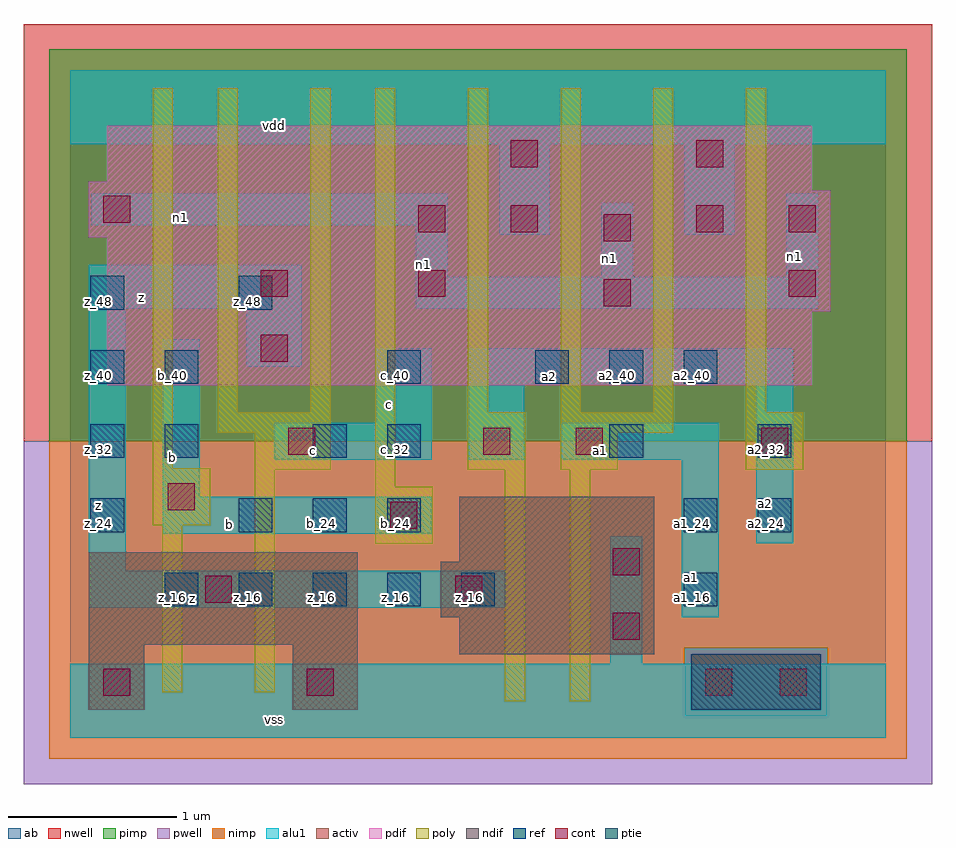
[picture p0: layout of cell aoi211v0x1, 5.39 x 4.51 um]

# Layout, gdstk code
import gdstk
lib = gdstk.Library(unit=1e-6, precision=2.5e-09)
def R(c, l, rs):  # rectangles x0, y0, x1, y1
    for r in rs: c.add(gdstk.rectangle(r[:2], r[2:], *l))
def A(c, l, x, y, w, h, nx, ny, dx, dy):  # array of equal rectangles
    R(c, l, [(x+i*dx, y+j*dy, x+i*dx+w, y+j*dy+h) for i in range(nx) for j in range(ny)])
ndif = (3, 0)
pdif = (4, 0)
ptie = (6, 0)
ref = (24, 0)
cont = (25, 0)
pwell = (41, 0)
nwell = (42, 0)
activ = (43, 0)
pimp = (44, 0)
nimp = (45, 0)
poly = (46, 0)
alu1 = (49, 0)
ab = (63, 0)

aoi211v0x1 = lib.new_cell('aoi211v0x1')
R(aoi211v0x1, ndif, [(0.11,0.165,0.44,0.55), (1.32,0.165,1.705,0.55), (2.31,0.495,3.465,0.715), (0.11,0.55,1.705,1.1), (2.2,0.715,3.465,1.045), (2.31,1.045,3.465,1.43)])
R(aoi211v0x1, pdif, [(0.22,2.09,4.4,2.53), (0.22,2.53,4.51,2.97), (0.11,2.97,4.51,3.245), (0.11,3.245,4.4,3.3), (0.22,3.3,4.4,3.63)])
R(aoi211v0x1, ptie, [(3.685,0.165,4.455,0.495)])
A(aoi211v0x1, ref, 0.56, 0.78, 0.2, 0.2, 5, 1, 0.44, 0)
A(aoi211v0x1, ref, 0.12, 1.22, 0.2, 0.2, 1, 4, 0, 0.44)
A(aoi211v0x1, ref, 1, 1.22, 0.2, 0.2, 3, 1, 0.44, 0)
A(aoi211v0x1, ref, 2.76, 2.1, 0.2, 0.2, 3, 1, 0.44, 0)
R(aoi211v0x1, ref, [(3.64,0.78,3.84,0.98), (3.64,1.22,3.84,1.42), (4.08,1.22,4.28,1.42), (0.56,1.66,0.76,1.86), (1.44,1.66,1.64,1.86), (1.88,1.66,2.08,1.86), (3.2,1.66,3.4,1.86), (4.08,1.66,4.28,1.86), (0.56,2.1,0.76,2.3), (1.88,2.1,2.08,2.3), (1,2.54,1.2,2.74)])
R(aoi211v0x1, cont, [(0.195,0.25,0.355,0.41), (1.405,0.25,1.565,0.41), (3.77,0.25,3.93,0.41), (4.21,0.25,4.37,0.41), (3.22,0.58,3.38,0.74), (0.8,0.8,0.96,0.96), (2.285,0.8,2.445,0.96), (3.22,0.965,3.38,1.125), (1.9,1.24,2.06,1.4), (0.58,1.35,0.74,1.51), (1.295,1.68,1.455,1.84), (2.45,1.68,2.61,1.84), (3,1.68,3.16,1.84), (4.1,1.68,4.26,1.84), (1.13,2.23,1.29,2.39), (3.165,2.56,3.325,2.72), (1.13,2.615,1.29,2.775), (2.065,2.615,2.225,2.775), (4.265,2.615,4.425,2.775), (3.165,2.945,3.325,3.105), (2.065,3,2.225,3.16), (2.615,3,2.775,3.16), (3.715,3,3.875,3.16), (4.265,3,4.425,3.16), (0.195,3.055,0.355,3.215), (2.615,3.385,2.775,3.545), (3.715,3.385,3.875,3.545)])
R(aoi211v0x1, pwell, [(-0.275,-0.275,5.115,1.76)])
R(aoi211v0x1, nwell, [(-0.275,1.76,5.115,4.235)])
R(aoi211v0x1, activ, [(0.11,0.165,0.44,0.55), (1.32,0.165,1.705,0.55), (3.685,0.165,4.455,0.495), (2.31,0.495,3.465,0.715), (0.11,0.55,1.705,1.1), (2.2,0.715,3.465,1.045), (2.31,1.045,3.465,1.43), (0.22,2.09,4.4,2.53), (0.22,2.53,4.51,2.97), (0.11,2.97,4.51,3.245), (0.11,3.245,4.4,3.3), (0.22,3.3,4.4,3.63)])
R(aoi211v0x1, pimp, [(3.645,0.125,4.495,0.535), (-0.125,1.76,4.965,4.085)])
R(aoi211v0x1, nimp, [(-0.125,-0.125,4.965,0.125), (-0.125,0.125,3.645,0.535), (4.495,0.125,4.965,0.535), (-0.125,0.535,4.965,1.76)])
A(aoi211v0x1, poly, 2.36, 1.93, 0.12, 1.925, 4, 1, 0.55, 0)
R(aoi211v0x1, poly, [(2.58,0.215,2.7,1.59), (2.965,0.215,3.085,1.59), (0.545,0.27,0.665,1.26), (1.095,0.27,1.215,1.59), (1.81,1.15,2.15,1.49), (0.49,1.26,0.83,1.6), (1.81,1.49,1.93,3.855), (1.095,1.59,1.545,1.81), (2.36,1.59,2.7,1.93), (2.91,1.59,3.25,1.81), (4.01,1.59,4.35,1.93), (0.49,1.6,0.61,3.855), (0.875,1.81,1.545,1.93), (2.91,1.81,3.58,1.93), (0.875,1.93,0.995,3.855), (1.425,1.93,1.545,3.855)])
R(aoi211v0x1, alu1, [(0,0,4.84,0.44), (3.205,0.44,3.395,1.195), (3.63,0.715,3.85,1.65), (0.11,0.77,2.585,0.99), (0.11,0.99,0.33,2.545), (4.07,1.155,4.29,2.09), (0.55,1.21,2.145,1.43), (0.55,1.43,0.77,2.365), (1.21,1.65,2.145,1.87), (2.365,1.65,2.695,2.09), (2.915,1.65,3.85,1.87), (1.815,1.87,2.145,2.31), (2.365,2.09,4.29,2.31), (1.045,2.2,1.375,2.53), (0.99,2.53,1.375,2.545), (0.11,2.545,1.375,2.805), (2.05,2.545,4.44,2.735), (2.05,2.735,2.24,3.04), (3.15,2.735,3.34,3.175), (4.25,2.735,4.44,3.23), (2.545,2.985,2.845,3.52), (3.645,2.985,3.945,3.52), (0.125,3.04,2.24,3.23), (0,3.52,4.84,3.96)])
R(aoi211v0x1, ab, [(0,0,4.84,3.96)])
aoi211v0x1.add(gdstk.Label('vss', (1.21,0.11), layer=49, texttype=0))
aoi211v0x1.add(gdstk.Label('a2', (4.125,1.3875), layer=49, texttype=0))
aoi211v0x1.add(gdstk.Label('a1', (3.685,0.9475), layer=49, texttype=0))
aoi211v0x1.add(gdstk.Label('z', (0.7275,0.825), layer=49, texttype=0))
aoi211v0x1.add(gdstk.Label('b', (0.9475,1.265), layer=49, texttype=0))
aoi211v0x1.add(gdstk.Label('a1', (3.1475,1.705), layer=49, texttype=0))
aoi211v0x1.add(gdstk.Label('a2', (2.845,2.145), layer=49, texttype=0))
aoi211v0x1.add(gdstk.Label('c', (1.4425,1.705), layer=49, texttype=0))
aoi211v0x1.add(gdstk.Label('c', (1.8975,1.98), layer=49, texttype=0))
aoi211v0x1.add(gdstk.Label('b', (0.605,1.6625), layer=49, texttype=0))
aoi211v0x1.add(gdstk.Label('z', (0.165,1.3775), layer=49, texttype=0))
aoi211v0x1.add(gdstk.Label('n1', (4.2975,2.8575), layer=49, texttype=0))
aoi211v0x1.add(gdstk.Label('n1', (3.1975,2.845), layer=49, texttype=0))
aoi211v0x1.add(gdstk.Label('n1', (2.0975,2.81), layer=49, texttype=0))
aoi211v0x1.add(gdstk.Label('z', (0.425,2.61), layer=49, texttype=0))
aoi211v0x1.add(gdstk.Label('n1', (0.6525,3.0875), layer=49, texttype=0))
aoi211v0x1.add(gdstk.Label('vdd', (1.21,3.63), layer=49, texttype=0))
aoi211v0x1.add(gdstk.Label('z_16', (0.61,0.83), layer=24, texttype=0))
aoi211v0x1.add(gdstk.Label('b_32', (0.61,1.71), layer=24, texttype=0))
aoi211v0x1.add(gdstk.Label('b_40', (0.61,2.15), layer=24, texttype=0))
aoi211v0x1.add(gdstk.Label('z_16', (1.05,0.83), layer=24, texttype=0))
aoi211v0x1.add(gdstk.Label('b_24', (1.05,1.27), layer=24, texttype=0))
aoi211v0x1.add(gdstk.Label('z_48', (1.05,2.59), layer=24, texttype=0))
aoi211v0x1.add(gdstk.Label('z_16', (1.49,0.83), layer=24, texttype=0))
aoi211v0x1.add(gdstk.Label('b_24', (1.49,1.27), layer=24, texttype=0))
aoi211v0x1.add(gdstk.Label('c_32', (1.49,1.71), layer=24, texttype=0))
aoi211v0x1.add(gdstk.Label('z_16', (1.93,0.83), layer=24, texttype=0))
aoi211v0x1.add(gdstk.Label('b_24', (1.93,1.27), layer=24, texttype=0))
aoi211v0x1.add(gdstk.Label('c_32', (1.93,1.71), layer=24, texttype=0))
aoi211v0x1.add(gdstk.Label('c_40', (1.93,2.15), layer=24, texttype=0))
aoi211v0x1.add(gdstk.Label('z_24', (0.17,1.27), layer=24, texttype=0))
aoi211v0x1.add(gdstk.Label('z_32', (0.17,1.71), layer=24, texttype=0))
aoi211v0x1.add(gdstk.Label('z_40', (0.17,2.15), layer=24, texttype=0))
aoi211v0x1.add(gdstk.Label('z_48', (0.17,2.59), layer=24, texttype=0))
aoi211v0x1.add(gdstk.Label('z_16', (2.37,0.83), layer=24, texttype=0))
aoi211v0x1.add(gdstk.Label('a2_40', (2.81,2.15), layer=24, texttype=0))
aoi211v0x1.add(gdstk.Label('a1_32', (3.25,1.71), layer=24, texttype=0))
aoi211v0x1.add(gdstk.Label('a2_40', (3.25,2.15), layer=24, texttype=0))
aoi211v0x1.add(gdstk.Label('a1_16', (3.69,0.83), layer=24, texttype=0))
aoi211v0x1.add(gdstk.Label('a1_24', (3.69,1.27), layer=24, texttype=0))
aoi211v0x1.add(gdstk.Label('a2_40', (3.69,2.15), layer=24, texttype=0))
aoi211v0x1.add(gdstk.Label('a2_24', (4.13,1.27), layer=24, texttype=0))
aoi211v0x1.add(gdstk.Label('a2_32', (4.13,1.71), layer=24, texttype=0))

lib.write_gds('aoi211v0x1.gds')
